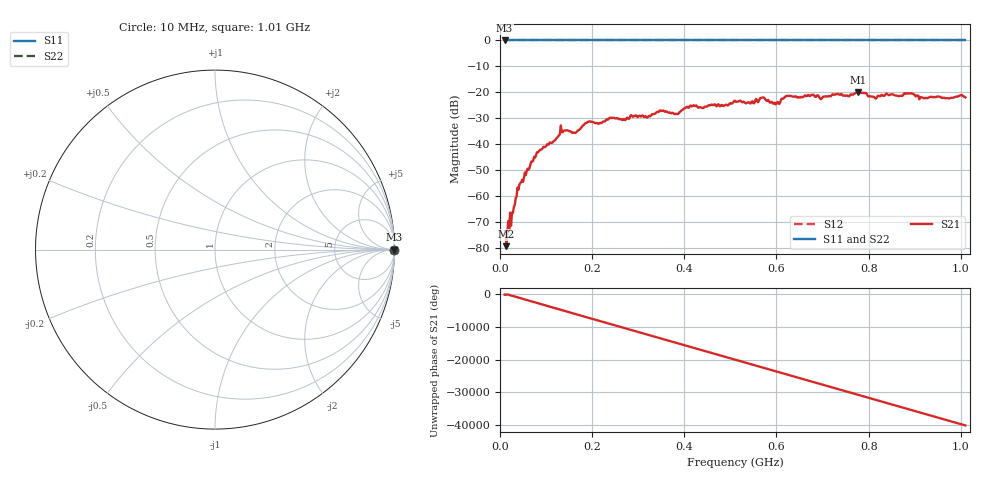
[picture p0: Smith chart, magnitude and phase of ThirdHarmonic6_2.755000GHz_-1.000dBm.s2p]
! 8/17/2025 6:55:10 AM
! C:\ANRITSUVNA\TEMP\TEMP.S2P
! CHANNEL.1
! TR.MEASUREMENT
! RAW.DATA
! RF.CORRECTION.OFF
! AVERAGING.OFF
! IF.BANDWIDTH: 5KHZ
! SWEEPTYPE:  FREQ.SWEEP(Linear)
! Reference Plane Port Info
! PORT:  PORT1  PORT2
! DISTANCE:  0  m  0  m
! TIME:  0  s  0  s
! PHASE.OFFSET:  0  deg.  0  deg.
! LOSS:  0  dB  0  dB
! REF.LOSS:  0  dB  0  dB
! REF.FREQ:  0  Hz  0  Hz
! Power Info
! POWER:  -20  dBm  -20  dBm
! EFF.POWER:  -20  dBm  -20  dBm
! SOURCE.ATTEN:  0  dB  0  dB
! TEST.ATTEN:  0  dB  0  dB
# GHZ S RI R 50.0
! FREQ.GHZ  S11RE  S11IM  S21RE  S21IM  S12RE  S12IM  S22RE  S22IM
!; PortSelection: Port_12
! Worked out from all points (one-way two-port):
!   501 points, 10 MHz to 1.01 GHz, reference 50 ohm
!   highest |S21| = -19.97 dB at 778 MHz (marker M1); lowest = -79.4 dB at 14 MHz (marker M2)
!   lowest |S11| = 0.0 dB at 10 MHz (marker M3)
!   |S11| at or under -10 dB: nowhere
!   |S22| runs from 0.0 to 0.0 dB; largest |S21 - S12| = 1.1
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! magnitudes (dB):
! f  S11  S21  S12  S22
! 10 MHz  0.0  -74.6  0.0  0.0
! 14 MHz  0.0  -79.4  0.0  0.0
! 28 MHz  0.0  -66.6  0.0  0.0
! 42 MHz  0.0  -55.7  0.0  0.0
! 78 MHz  0.0  -44.5  0.0  0.0
! 136 MHz  0.0  -35.4  0.0  0.0
! 160 MHz  0.0  -35.6  0.0  0.0
! 178 MHz  0.0  -33.2  0.0  0.0
! 194 MHz  0.0  -31.2  0.0  0.0
! 322 MHz  0.0  -29.3  0.0  0.0
! 344 MHz  0.0  -27.7  0.0  0.0
! 382 MHz  0.0  -28.3  0.0  0.0
! 416 MHz  0.0  -25.5  0.0  0.0
! 510 MHz  0.0  -23.3  0.0  0.0
! 570 MHz  0.0  -22.0  0.0  0.0
! 596 MHz  0.0  -24.0  0.0  0.0
! 622 MHz  0.0  -21.4  0.0  0.0
! 678 MHz  0.0  -21.0  0.0  0.0
! 778 MHz  0.0  -20.0  0.0  0.0
! 814 MHz  0.0  -22.2  0.0  0.0
! 844 MHz  0.0  -21.1  0.0  0.0
! 1.01 GHz  0.0  -22.0  0.0  0.0
